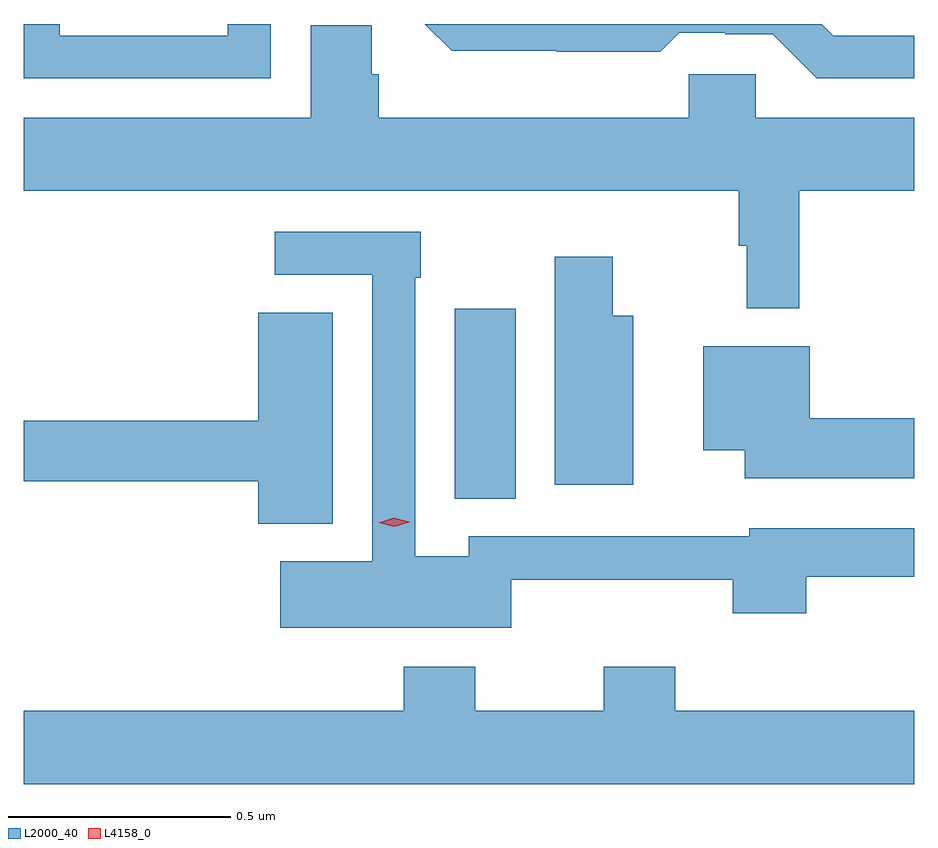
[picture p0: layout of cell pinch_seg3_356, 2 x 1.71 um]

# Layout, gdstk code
import gdstk
lib = gdstk.Library(unit=1e-6, precision=1e-09)
def R(c, l, rs):  # rectangles x0, y0, x1, y1
    for r in rs: c.add(gdstk.rectangle(r[:2], r[2:], *l))
def P(c, l, *ps):  # polygons
    for p in ps: c.add(gdstk.Polygon(p, *l))
L2000_40 = (2000, 40)
L4158_0 = (4158, 0)

pinch_seg3_356 = lib.new_cell('pinch_seg3_356')
R(pinch_seg3_356, L2000_40, [(995.195,700.225,995.332,700.651)])
P(pinch_seg3_356, L2000_40, [(994.782,701.291),(994.685,701.291),(994.685,701.265),(994.308,701.265),(994.308,701.291),(994.227,701.291),(994.227,701.169),(994.782,701.169)],
  [(996.227,701.265),(996.045,701.265),(996.019,701.291),(995.128,701.291),(995.188,701.231),(995.424,701.231),(995.424,701.229),(995.657,701.229),(995.699,701.271),(995.802,701.271),(995.802,701.268),(995.909,701.268),(996.008,701.169),(996.227,701.169)],
  [(995.969,700.916),(996.227,700.916),(996.227,701.08),(995.871,701.08),(995.871,701.178),(995.721,701.178),(995.721,701.08),(995.024,701.08),(995.024,701.178),(995.009,701.178),(995.009,701.288),(994.872,701.288),(994.872,701.08),(994.227,701.08),(994.227,700.916),(995.833,700.916),(995.833,700.793),(995.851,700.793),(995.851,700.653),(995.969,700.653)],
  [(995.322,700.043),(995.819,700.043),(995.819,699.968),(995.984,699.968),(995.984,700.05),(996.227,700.05),(996.227,700.158),(995.856,700.158),(995.856,700.14),(995.226,700.14),(995.226,700.096),(995.106,700.096),(995.106,700.721),(995.119,700.721),(995.119,700.824),(994.791,700.824),(994.791,700.728),(995.01,700.728),(995.01,700.084),(994.803,700.084),(994.803,699.935),(995.322,699.935)],
  [(995.596,700.636),(995.55,700.636),(995.55,700.768),(995.42,700.768),(995.42,700.256),(995.596,700.256)],
  [(994.921,700.643),(994.754,700.643),(994.754,700.4),(994.227,700.4),(994.227,700.264),(994.754,700.264),(994.754,700.169),(994.921,700.169)],
  [(996.227,700.406),(995.992,700.406),(995.992,700.567),(995.753,700.567),(995.753,700.334),(995.846,700.334),(995.846,700.271),(996.227,700.271)],
  [(996.227,699.748),(995.69,699.748),(995.69,699.847),(995.53,699.847),(995.53,699.748),(995.241,699.748),(995.241,699.847),(995.081,699.847),(995.081,699.748),(994.227,699.748),(994.227,699.584),(996.227,699.584)])
P(pinch_seg3_356, L4158_0, [(995.059,700.162),(995.024,700.171),(995.024,700.171),(995.024,700.171),(995.058,700.182),(995.093,700.173),(995.094,700.173),(995.093,700.172)])

lib.write_gds('pinch_seg3_356.gds')
